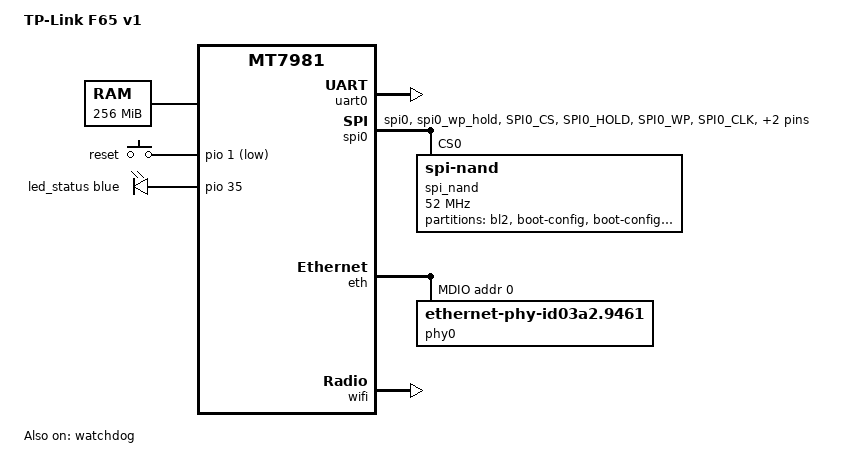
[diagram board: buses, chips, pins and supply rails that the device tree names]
// SPDX-License-Identifier: GPL-2.0-only OR MIT

/dts-v1/;
#include <dt-bindings/gpio/gpio.h>
#include <dt-bindings/input/input.h>
#include <dt-bindings/leds/common.h>
#include <dt-bindings/pinctrl/mt65xx.h>

#include "mt7981b.dtsi"

/ {
	compatible = "tplink,f65-v1", "mediatek,mt7981";
	model = "TP-Link F65 v1";

	aliases {
		serial0 = &uart0;
		led-boot = &led_status;
		led-failsafe = &led_status;
		led-running = &led_status;
		led-upgrade = &led_status;
	};

	chosen {
		bootargs-append = " ubi.mtd=ubi root=/dev/ubiblock0_1";
		stdout-path = "serial0:115200n8";
	};

	memory@40000000 {
		reg = <0 0x40000000 0 0x10000000>;
		device_type = "memory";
	};

	gpio-keys {
		compatible = "gpio-keys";

		reset {
			label = "reset";
			linux,code = <KEY_RESTART>;
			gpios = <&pio 1 GPIO_ACTIVE_LOW>;
		};
	};

	leds {
		compatible = "gpio-leds";

		led_status: led_status {
			function = LED_FUNCTION_STATUS;
			color = <LED_COLOR_ID_BLUE>;
			gpios = <&pio 35 GPIO_ACTIVE_HIGH>;
		};
	};
};

&uart0 {
	status = "okay";
};

&watchdog {
	status = "okay";
};

&spi0 {
	pinctrl-names = "default";
	pinctrl-0 = <&spi0_flash_pins>;
	status = "okay";

	spi_nand@0 {
		#address-cells = <1>;
		#size-cells = <1>;
		compatible = "spi-nand";
		reg = <0>;
		spi-max-frequency = <52000000>;
		spi-tx-buswidth = <4>;
		spi-rx-buswidth = <4>;

		partitions {
			compatible = "fixed-partitions";
			#address-cells = <1>;
			#size-cells = <1>;

			partition@0 {
				label = "bl2";
				reg = <0x00000 0x100000>;
				read-only;
			};

			partition@100000 {
				label = "boot-config";
				reg = <0x100000 0x100000>;
				read-only;
			};

			partition@200000 {
				label = "boot-config1";
				reg = <0x200000 0x100000>;
				read-only;
			};

			partition@300000 {
				label = "u-boot-env";
				reg = <0x300000 0x100000>;
			};

			partition@400000 {
				label = "fip0";
				reg = <0x400000 0x200000>;
				read-only;
			};

			partition@600000 {
				label = "fip1";
				reg = <0x600000 0x200000>;
				read-only;
			};

			partition@800000 {
				label = "oops";
				reg = <0x800000 0x100000>;
				read-only;
			};

			partition@900000 {
				label = "ubi";
				reg = <0x900000 0x2680000>;
			};

			partition@2F80000 {
				label = "ubi_1";
				reg = <0x2F80000 0x2680000>;
				read-only;
			};

			partition@5600000 {
				label = "factory";
				reg = <0x5600000 0x800000>;
				read-only;
			};

			partition@5E00000 {
				label = "runtime_data";
				reg = <0x5E00000 0xC00000>;
				read-only;
			};

			partition@6A00000 {
				label = "backup_data";
				reg = <0x6A00000 0x800000>;
				read-only;
			};

			partition@7200000 {
				label = "runtime_backup";
				reg = <0x7200000 0x800000>;
				read-only;
			};

		};
	};
};

&pio {
	spi0_flash_pins: spi0-pins {
		mux {
			function = "spi";
			groups = "spi0", "spi0_wp_hold";
		};

		conf-pu {
			pins = "SPI0_CS", "SPI0_HOLD", "SPI0_WP";
			drive-strength = <MTK_DRIVE_8mA>;
		};

		conf-pd {
			pins = "SPI0_CLK", "SPI0_MOSI", "SPI0_MISO";
			drive-strength = <MTK_DRIVE_8mA>;
		};
	};
};

&eth {
	status = "okay";

	gmac1: mac@1 {
		compatible = "mediatek,eth-mac";
		reg = <1>;
		phy-mode = "gmii";
		phy-handle = <&phy0>;
	};

	mdio: mdio-bus {
		#address-cells = <1>;
		#size-cells = <0>;

		phy0: ethernet-phy@0 {
			compatible = "ethernet-phy-id03a2.9461";
			reg = <0>;
			phy-mode = "gmii";
			nvmem-cells = <&phy_calibration>;
			nvmem-cell-names = "phy-cal-data";
		};
	};
};

&wifi {
	status = "okay";
};
